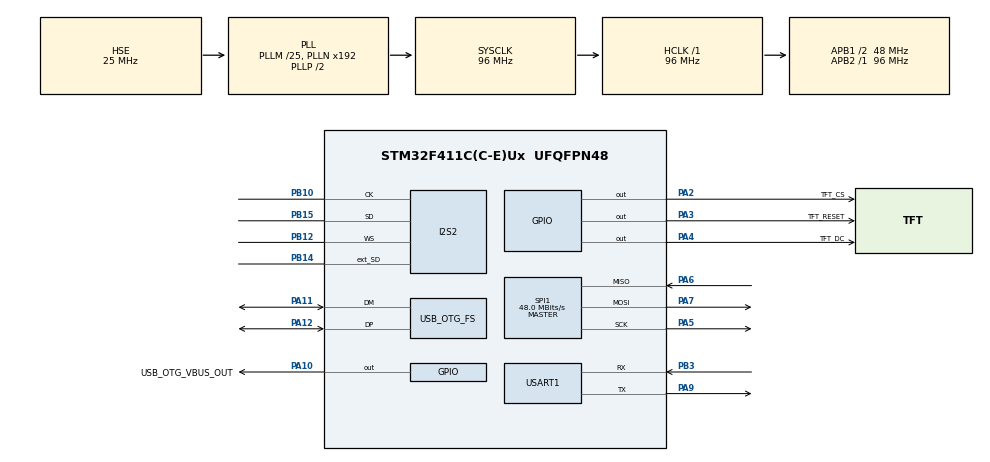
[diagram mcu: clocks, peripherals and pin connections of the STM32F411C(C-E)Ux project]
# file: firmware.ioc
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Dma.Request0=SPI1_TX
Dma.Request1=USART1_TX
Dma.Request2=USART1_RX
Dma.SPI1_TX.0.Direction=DMA_MEMORY_TO_PERIPH
Dma.SPI1_TX.0.FIFOMode=DMA_FIFOMODE_DISABLE
Dma.SPI1_TX.0.Instance=DMA2_Stream2
Dma.SPI1_TX.0.MemDataAlignment=DMA_MDATAALIGN_BYTE
Dma.SPI1_TX.0.MemInc=DMA_MINC_ENABLE
Dma.SPI1_TX.0.Mode=DMA_NORMAL
Dma.SPI1_TX.0.PeriphDataAlignment=DMA_PDATAALIGN_BYTE
Dma.SPI1_TX.0.PeriphInc=DMA_PINC_DISABLE
Dma.SPI1_TX.0.Priority=DMA_PRIORITY_LOW
Dma.USART1_RX.2.Direction=DMA_PERIPH_TO_MEMORY
Dma.USART1_RX.2.FIFOMode=DMA_FIFOMODE_DISABLE
Dma.USART1_RX.2.Instance=DMA2_Stream5
Dma.USART1_RX.2.MemDataAlignment=DMA_MDATAALIGN_BYTE
Dma.USART1_RX.2.MemInc=DMA_MINC_ENABLE
Dma.USART1_RX.2.Mode=DMA_NORMAL
Dma.USART1_RX.2.PeriphDataAlignment=DMA_PDATAALIGN_BYTE
Dma.USART1_RX.2.PeriphInc=DMA_PINC_DISABLE
Dma.USART1_RX.2.Priority=DMA_PRIORITY_LOW
Dma.USART1_TX.1.Direction=DMA_MEMORY_TO_PERIPH
Dma.USART1_TX.1.FIFOMode=DMA_FIFOMODE_DISABLE
Dma.USART1_TX.1.Instance=DMA2_Stream7
Dma.USART1_TX.1.MemDataAlignment=DMA_MDATAALIGN_BYTE
Dma.USART1_TX.1.MemInc=DMA_MINC_ENABLE
Dma.USART1_TX.1.Mode=DMA_NORMAL
Dma.USART1_TX.1.PeriphDataAlignment=DMA_PDATAALIGN_BYTE
Dma.USART1_TX.1.PeriphInc=DMA_PINC_DISABLE
Dma.USART1_TX.1.Priority=DMA_PRIORITY_LOW
FREERTOS.Tasks01=defaultTask,24,128,StartDefaultTask,Default,NULL,Dynamic,NULL,NULL
I2S2.AudioFreq=I2S_AUDIOFREQ_44K
I2S2.ErrorAudioFreq=-0.43 %
I2S2.FullDuplexMode=I2S_FULLDUPLEXMODE_ENABLE
I2S2.Instance=SPI$Index
I2S2.RealAudioFreq=43.808 KHz
I2S2.VirtualMode=I2S_MODE_MASTER
Mcu.Family=STM32F4
Mcu.Name=STM32F411C(C-E)Ux
Mcu.Package=UFQFPN48
NVIC.DMA2_Stream2_IRQn=true\:5\:0\:false\:false\:true\:true\:false\:true
NVIC.DMA2_Stream5_IRQn=true\:5\:0\:false\:false\:true\:true\:false\:true
NVIC.DMA2_Stream7_IRQn=true\:5\:0\:false\:false\:true\:true\:false\:true
NVIC.OTG_FS_IRQn=true\:5\:0\:false\:false\:true\:true\:true\:true
NVIC.PriorityGroup=NVIC_PRIORITYGROUP_4
NVIC.SPI1_IRQn=true\:5\:0\:false\:false\:true\:true\:true\:true
NVIC.SPI2_IRQn=true\:5\:0\:false\:false\:true\:true\:true\:true
NVIC.TIM5_IRQn=true\:15\:0\:false\:false\:true\:false\:false\:true
NVIC.TimeBase=TIM5_IRQn
NVIC.TimeBaseIP=TIM5
NVIC.USART1_IRQn=true\:5\:0\:false\:false\:true\:true\:true\:true
PA10.GPIO_Label=USB_OTG_VBUS_OUT
PA10.Signal=GPIO_Output
PA11.Mode=Host_Only
PA11.Signal=USB_OTG_FS_DM
PA12.Mode=Host_Only
PA12.Signal=USB_OTG_FS_DP
PA13.Mode=Serial_Wire
PA13.Signal=SYS_JTMS-SWDIO
PA14.Mode=Serial_Wire
PA14.Signal=SYS_JTCK-SWCLK
PA2.GPIO_Label=TFT_CS
PA2.GPIO_Speed=GPIO_SPEED_FREQ_HIGH
PA2.Signal=GPIO_Output
PA3.GPIO_Label=TFT_RESET
PA3.Signal=GPIO_Output
PA4.GPIO_Label=TFT_DC
PA4.GPIO_Speed=GPIO_SPEED_FREQ_HIGH
PA4.PinState=GPIO_PIN_RESET
PA4.Signal=GPIO_Output
PA5.Mode=Full_Duplex_Master
PA5.Signal=SPI1_SCK
PA6.Mode=Full_Duplex_Master
PA6.Signal=SPI1_MISO
PA7.Mode=Full_Duplex_Master
PA7.Signal=SPI1_MOSI
PA9.Mode=Asynchronous
PA9.Signal=USART1_TX
PB10.Mode=Full_Duplex_Master
PB10.Signal=I2S2_CK
PB12.Mode=Full_Duplex_Master
PB12.Signal=I2S2_WS
PB14.Mode=Full_Duplex_Master
PB14.Signal=I2S2_ext_SD
PB15.Mode=Full_Duplex_Master
PB15.Signal=I2S2_SD
PB3.Mode=Asynchronous
PB3.Signal=USART1_RX
PC14-OSC32_IN.Mode=LSE-External-Oscillator
PC14-OSC32_IN.Signal=RCC_OSC32_IN
PC15-OSC32_OUT.Mode=LSE-External-Oscillator
PC15-OSC32_OUT.Signal=RCC_OSC32_OUT
PH0\ -\ OSC_IN.Mode=HSE-External-Oscillator
PH0\ -\ OSC_IN.Signal=RCC_OSC_IN
PH1\ -\ OSC_OUT.Mode=HSE-External-Oscillator
PH1\ -\ OSC_OUT.Signal=RCC_OSC_OUT
ProjectManager.HeapSize=0x200
ProjectManager.StackSize=0x800
ProjectManager.TargetToolchain=Makefile
RCC.48MHZClocksFreq_Value=48000000
RCC.AHBFreq_Value=96000000
RCC.APB1CLKDivider=RCC_HCLK_DIV2
RCC.APB1Freq_Value=48000000
RCC.APB1TimFreq_Value=96000000
RCC.APB2Freq_Value=96000000
RCC.APB2TimFreq_Value=96000000
RCC.CortexFreq_Value=96000000
RCC.HCLKFreq_Value=96000000
RCC.HSE_VALUE=25000000
RCC.HSI_VALUE=16000000
RCC.PLLM=25
RCC.SYSCLKFreq_VALUE=96000000
RCC.SYSCLKSource=RCC_SYSCLKSOURCE_PLLCLK
RCC.VCOOutputFreq_Value=192000000
SPI1.BaudRatePrescaler=SPI_BAUDRATEPRESCALER_2
SPI1.CalculateBaudRate=48.0 MBits/s
SPI1.Direction=SPI_DIRECTION_2LINES
SPI1.Mode=SPI_MODE_MASTER
SPI1.VirtualType=VM_MASTER
USART1.VirtualMode=VM_ASYNC
USB_HOST.BSP.number=1
USB_HOST.USBH_DEBUG_LEVEL=3
USB_HOST.USBH_HandleTypeDef=hUsbHostFS
USB_HOST.USBH_PROCESS_STACK_SIZE=2*1024
USB_HOST.VirtualModeFS=All_Classes
USB_HOST0.BSP.STBoard=false
USB_HOST0.BSP.api=Unknown
USB_HOST0.BSP.i2caddr=0
USB_HOST0.BSP.instance=PA10
USB_HOST0.BSP.ip=GPIO
USB_HOST0.BSP.mode=Output
USB_HOST0.BSP.name=Drive_VBUS_FS
USB_HOST0.BSP.solution=PA10
USB_OTG_FS.VirtualMode=Host_Only
USB_OTG_FS.phy_itface=HCD_PHY_EMBEDDED
VP_FREERTOS_VS_CMSIS_V2.Mode=CMSIS_V2
VP_SYS_VS_tim5.Mode=TIM5
VP_USB_HOST_VS_USB_HOST_ALL_CLASS_FS.Mode=ALL_Classes_FS
board=custom

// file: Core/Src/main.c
/* USER CODE BEGIN Header */
/**
 ******************************************************************************
 * @file           : main.c
 * @brief          : Main program body
 ******************************************************************************
 * @attention
 *
 * <h2><center>&copy; Copyright (c) 2023 STMicroelectronics.
 * All rights reserved.</center></h2>
 *
 * This software component is licensed by ST under Ultimate Liberty license
 * SLA0044, the "License"; You may not use this file except in compliance with
 * the License. You may obtain a copy of the License at:
 *                             www.st.com/SLA0044
 *
 ******************************************************************************
 */
/* USER CODE END Header */
#include "main.h"
#include "cmsis_os.h"
#include "usb_host.h"
#include "usb_host.h"

/* USER CODE BEGIN Includes */
#include "ILI9341/ili9341.h"
#include "m8ec/m8ec.h"
#ifdef SEGGER_SYSVIEW
#include "SEGGER_SYSVIEW.h"
#endif
/* USER CODE END Includes */

I2S_HandleTypeDef hi2s2;
DMA_HandleTypeDef hdma_spi2_rx;
DMA_HandleTypeDef hdma_i2s2_ext_tx;

SPI_HandleTypeDef hspi1;
DMA_HandleTypeDef hdma_spi1_tx;

UART_HandleTypeDef huart1;
DMA_HandleTypeDef hdma_usart1_tx;
DMA_HandleTypeDef hdma_usart1_rx;

/* Definitions for defaultTask */
osThreadId_t defaultTaskHandle;
const osThreadAttr_t defaultTask_attributes = {
  .name = "defaultTask",
  .stack_size = 128 * 4,
  .priority = (osPriority_t) osPriorityNormal,
};

void SystemClock_Config(void);
static void MX_GPIO_Init(void);
static void MX_DMA_Init(void);
static void MX_SPI1_Init(void);
static void MX_USART1_UART_Init(void);
static void MX_I2S2_Init(void);
void StartDefaultTask(void *argument);

/* USER CODE BEGIN 0 */
static volatile int uxTopUsedPriority;

/* USER CODE END 0 */

int main(void)
{
  /* USER CODE BEGIN 1 */
  uxTopUsedPriority = configMAX_PRIORITIES - 1;
#ifdef SEGGER_SYSVIEW
  SEGGER_SYSVIEW_Conf();
#endif
  /* USER CODE END 1 */

  /* MCU Configuration--------------------------------------------------------*/

  /* Reset of all peripherals, Initializes the Flash interface and the Systick. */
  HAL_Init();

  /* Configure the system clock */
  SystemClock_Config();

  /* Initialize all configured peripherals */
  MX_GPIO_Init();
  MX_DMA_Init();
  MX_SPI1_Init();
  MX_USART1_UART_Init();
  MX_I2S2_Init();

  /* Init scheduler */
  osKernelInitialize();

  /* Create the thread(s) */
  /* creation of defaultTask */
  defaultTaskHandle = osThreadNew(StartDefaultTask, NULL, &defaultTask_attributes);

  /* Start scheduler */
  osKernelStart();

  /* We should never get here as control is now taken by the scheduler */
  /* Infinite loop */
    while (1) {

    }
}

void SystemClock_Config(void)
{
  RCC_OscInitTypeDef RCC_OscInitStruct = {0};
  RCC_ClkInitTypeDef RCC_ClkInitStruct = {0};

  /** Configure the main internal regulator output voltage
  */
  __HAL_RCC_PWR_CLK_ENABLE();
  __HAL_PWR_VOLTAGESCALING_CONFIG(PWR_REGULATOR_VOLTAGE_SCALE1);
  /** Initializes the RCC Oscillators according to the specified parameters
  * in the RCC_OscInitTypeDef structure.
  */
  RCC_OscInitStruct.OscillatorType = RCC_OSCILLATORTYPE_HSE;
  RCC_OscInitStruct.HSEState = RCC_HSE_ON;
  RCC_OscInitStruct.PLL.PLLState = RCC_PLL_ON;
  RCC_OscInitStruct.PLL.PLLSource = RCC_PLLSOURCE_HSE;
  RCC_OscInitStruct.PLL.PLLM = 25;
  RCC_OscInitStruct.PLL.PLLN = 192;
  RCC_OscInitStruct.PLL.PLLP = RCC_PLLP_DIV2;
  RCC_OscInitStruct.PLL.PLLQ = 4;
  if (HAL_RCC_OscConfig(&RCC_OscInitStruct) != HAL_OK)
  {
    Error_Handler();
  }
  /** Initializes the CPU, AHB and APB buses clocks
  */
  RCC_ClkInitStruct.ClockType = RCC_CLOCKTYPE_HCLK|RCC_CLOCKTYPE_SYSCLK
                              |RCC_CLOCKTYPE_PCLK1|RCC_CLOCKTYPE_PCLK2;
  RCC_ClkInitStruct.SYSCLKSource = RCC_SYSCLKSOURCE_PLLCLK;
  RCC_ClkInitStruct.AHBCLKDivider = RCC_SYSCLK_DIV1;
  RCC_ClkInitStruct.APB1CLKDivider = RCC_HCLK_DIV2;
  RCC_ClkInitStruct.APB2CLKDivider = RCC_HCLK_DIV1;

  if (HAL_RCC_ClockConfig(&RCC_ClkInitStruct, FLASH_LATENCY_3) != HAL_OK)
  {
    Error_Handler();
  }
}

static void MX_I2S2_Init(void)
{

  hi2s2.Instance = SPI2;
  hi2s2.Init.Mode = I2S_MODE_MASTER_RX;
  hi2s2.Init.Standard = I2S_STANDARD_PHILIPS;
  hi2s2.Init.DataFormat = I2S_DATAFORMAT_16B;
  hi2s2.Init.MCLKOutput = I2S_MCLKOUTPUT_DISABLE;
  hi2s2.Init.AudioFreq = 44100;
  hi2s2.Init.CPOL = I2S_CPOL_LOW;
  hi2s2.Init.ClockSource = I2S_CLOCK_PLL;
  hi2s2.Init.FullDuplexMode = I2S_FULLDUPLEXMODE_ENABLE;
  if (HAL_I2S_Init(&hi2s2) != HAL_OK)
  {
    Error_Handler();
  }

}

static void MX_SPI1_Init(void)
{

  /* SPI1 parameter configuration*/
  hspi1.Instance = SPI1;
  hspi1.Init.Mode = SPI_MODE_MASTER;
  hspi1.Init.Direction = SPI_DIRECTION_2LINES;
  hspi1.Init.DataSize = SPI_DATASIZE_8BIT;
  hspi1.Init.CLKPolarity = SPI_POLARITY_LOW;
  hspi1.Init.CLKPhase = SPI_PHASE_1EDGE;
  hspi1.Init.NSS = SPI_NSS_SOFT;
  hspi1.Init.BaudRatePrescaler = SPI_BAUDRATEPRESCALER_2;
  hspi1.Init.FirstBit = SPI_FIRSTBIT_MSB;
  hspi1.Init.TIMode = SPI_TIMODE_DISABLE;
  hspi1.Init.CRCCalculation = SPI_CRCCALCULATION_DISABLE;
  hspi1.Init.CRCPolynomial = 10;
  if (HAL_SPI_Init(&hspi1) != HAL_OK)
  {
    Error_Handler();
  }

}

static void MX_USART1_UART_Init(void)
{

  huart1.Instance = USART1;
  huart1.Init.BaudRate = 115200;
  huart1.Init.WordLength = UART_WORDLENGTH_8B;
  huart1.Init.StopBits = UART_STOPBITS_1;
  huart1.Init.Parity = UART_PARITY_NONE;
  huart1.Init.Mode = UART_MODE_TX_RX;
  huart1.Init.HwFlowCtl = UART_HWCONTROL_NONE;
  huart1.Init.OverSampling = UART_OVERSAMPLING_16;
  if (HAL_UART_Init(&huart1) != HAL_OK)
  {
    Error_Handler();
  }

}

static void MX_DMA_Init(void)
{

  /* DMA controller clock enable */
  __HAL_RCC_DMA2_CLK_ENABLE();
  __HAL_RCC_DMA1_CLK_ENABLE();

  /* DMA interrupt init */
  /* DMA1_Stream3_IRQn interrupt configuration */
  HAL_NVIC_SetPriority(DMA1_Stream3_IRQn, 5, 0);
  HAL_NVIC_EnableIRQ(DMA1_Stream3_IRQn);
  /* DMA1_Stream4_IRQn interrupt configuration */
  HAL_NVIC_SetPriority(DMA1_Stream4_IRQn, 5, 0);
  HAL_NVIC_EnableIRQ(DMA1_Stream4_IRQn);
  /* DMA2_Stream2_IRQn interrupt configuration */
  HAL_NVIC_SetPriority(DMA2_Stream2_IRQn, 5, 0);
  HAL_NVIC_EnableIRQ(DMA2_Stream2_IRQn);
  /* DMA2_Stream5_IRQn interrupt configuration */
  HAL_NVIC_SetPriority(DMA2_Stream5_IRQn, 5, 0);
  HAL_NVIC_EnableIRQ(DMA2_Stream5_IRQn);
  /* DMA2_Stream7_IRQn interrupt configuration */
  HAL_NVIC_SetPriority(DMA2_Stream7_IRQn, 5, 0);
  HAL_NVIC_EnableIRQ(DMA2_Stream7_IRQn);

}

static void MX_GPIO_Init(void)
{
  GPIO_InitTypeDef GPIO_InitStruct = {0};

  /* GPIO Ports Clock Enable */
  __HAL_RCC_GPIOC_CLK_ENABLE();
  __HAL_RCC_GPIOH_CLK_ENABLE();
  __HAL_RCC_GPIOA_CLK_ENABLE();
  __HAL_RCC_GPIOB_CLK_ENABLE();

  /*Configure GPIO pin Output Level */
  HAL_GPIO_WritePin(GPIOA, TFT_CS_Pin|TFT_RESET_Pin|TFT_DC_Pin|USB_OTG_VBUS_OUT_Pin, GPIO_PIN_RESET);

  /*Configure GPIO pins : TFT_CS_Pin TFT_DC_Pin */
  GPIO_InitStruct.Pin = TFT_CS_Pin|TFT_DC_Pin;
  GPIO_InitStruct.Mode = GPIO_MODE_OUTPUT_PP;
  GPIO_InitStruct.Pull = GPIO_NOPULL;
  GPIO_InitStruct.Speed = GPIO_SPEED_FREQ_HIGH;
  HAL_GPIO_Init(GPIOA, &GPIO_InitStruct);

  /*Configure GPIO pins : TFT_RESET_Pin USB_OTG_VBUS_OUT_Pin */
  GPIO_InitStruct.Pin = TFT_RESET_Pin|USB_OTG_VBUS_OUT_Pin;
  GPIO_InitStruct.Mode = GPIO_MODE_OUTPUT_PP;
  GPIO_InitStruct.Pull = GPIO_NOPULL;
  GPIO_InitStruct.Speed = GPIO_SPEED_FREQ_LOW;
  HAL_GPIO_Init(GPIOA, &GPIO_InitStruct);

}

/* USER CODE BEGIN 4 */
uint16_t audio_out_buffer[256];
/* USER CODE END 4 */

void StartDefaultTask(void *argument)
{
#ifdef SEGGER_SYSVIEW
  SEGGER_SYSVIEW_Start();
#endif
  /* init code for USB_HOST */
  MX_USB_HOST_Init();
  /* USER CODE BEGIN 5 */
  m8ec_launch();
  HAL_I2S_Transmit_DMA(&hi2s2, audio_out_buffer, 256);
  osThreadTerminate(defaultTaskHandle);
  /* USER CODE END 5 */
}

void HAL_TIM_PeriodElapsedCallback(TIM_HandleTypeDef *htim)
{
  if (htim->Instance == TIM5) {
    HAL_IncTick();
  }
}

void Error_Handler(void)
{
    __disable_irq();
    while (1) {
    }
}

#ifdef  USE_FULL_ASSERT
/**
  * @brief  Reports the name of the source file and the source line number
  *         where the assert_param error has occurred.
  * @param  file: pointer to the source file name
  * @param  line: assert_param error line source number
  * @retval None
  */
void assert_failed(uint8_t *file, uint32_t line)
{
  /* USER CODE BEGIN 6 */
    /* User can add his own implementation to report the file name and line
       number,
       ex: printf("Wrong parameters value: file %s on line %d\r\n", file, line) */
  /* USER CODE END 6 */
}
#endif /* USE_FULL_ASSERT */

/************************ (C) COPYRIGHT STMicroelectronics *****END OF FILE****/
